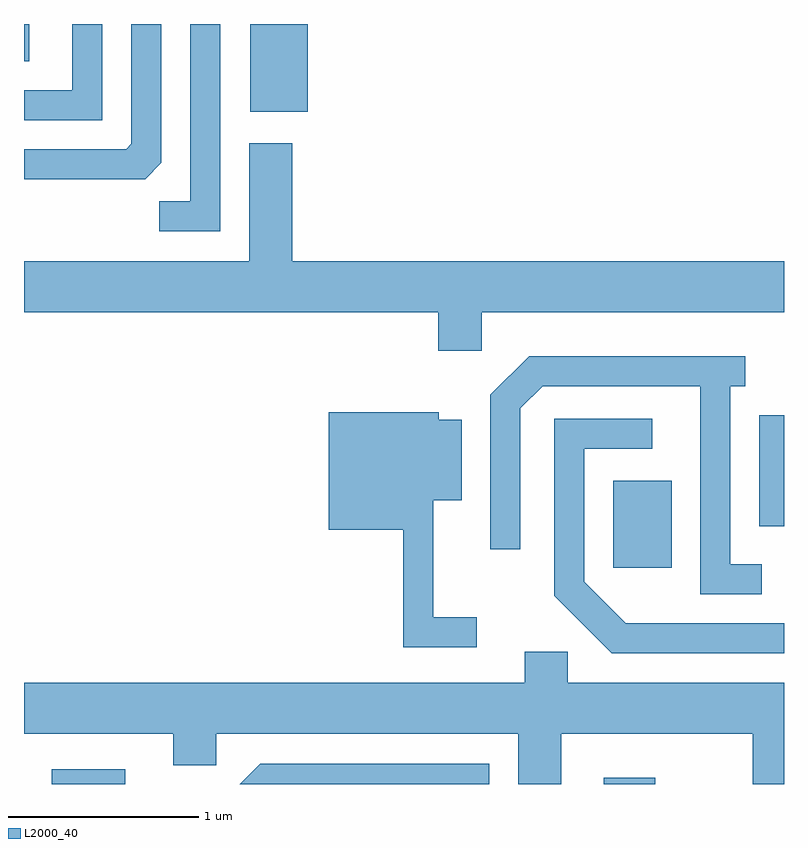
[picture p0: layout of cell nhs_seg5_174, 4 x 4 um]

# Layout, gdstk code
import gdstk
lib = gdstk.Library(unit=1e-6, precision=1e-09)
def R(c, l, rs):  # rectangles x0, y0, x1, y1
    for r in rs: c.add(gdstk.rectangle(r[:2], r[2:], *l))
def P(c, l, *ps):  # polygons
    for p in ps: c.add(gdstk.Polygon(p, *l))
L2000_40 = (2000, 40)

nhs_seg5_174 = lib.new_cell('nhs_seg5_174')
R(nhs_seg5_174, L2000_40, [(189.756,1472.072,190.143,1472.149), (192.663,1472.072,192.934,1472.104), (192.711,1473.211,193.019,1473.669), (193.481,1473.428,193.611,1474.014), (190.801,1475.611,191.104,1476.072), (189.611,1475.876,189.639,1476.072)])
P(nhs_seg5_174, L2000_40, [(190.334,1475.342),(190.334,1476.072),(190.176,1476.072),(190.176,1475.442),(190.149,1475.414),(189.611,1475.414),(189.611,1475.256),(190.249,1475.256)],
  [(190.644,1476.072),(190.486,1476.072),(190.486,1475.139),(190.323,1475.139),(190.323,1474.981),(190.644,1474.981)],
  [(190.024,1476.072),(189.866,1476.072),(189.866,1475.724),(189.611,1475.724),(189.611,1475.566),(190.024,1475.566)],
  [(192.019,1474.556),(193.611,1474.556),(193.611,1474.824),(191.024,1474.824),(191.024,1475.444),(190.796,1475.444),(190.796,1474.824),(189.611,1474.824),(189.611,1474.556),(191.791,1474.556),(191.791,1474.351),(192.019,1474.351)],
  [(193.493,1473.229),(193.329,1473.229),(193.329,1474.166),(193.408,1474.166),(193.408,1474.324),(192.269,1474.324),(192.066,1474.122),(192.066,1473.308),(192.224,1473.308),(192.224,1474.049),(192.342,1474.166),(193.171,1474.166),(193.171,1473.071),(193.493,1473.071)],
  [(191.993,1472.949),(191.764,1472.949),(191.764,1473.566),(191.914,1473.566),(191.914,1473.989),(191.794,1473.989),(191.794,1474.029),(191.216,1474.029),(191.216,1473.411),(191.606,1473.411),(191.606,1472.791),(191.993,1472.791)],
  [(193.611,1472.919),(192.777,1472.919),(192.559,1473.137),(192.559,1473.836),(192.918,1473.836),(192.918,1473.994),(192.401,1473.994),(192.401,1473.064),(192.704,1472.761),(193.611,1472.761)],
  [(192.439,1472.336),(193.446,1472.336),(193.446,1472.072),(193.611,1472.072),(193.611,1472.604),(192.474,1472.604),(192.474,1472.769),(192.246,1472.769),(192.246,1472.604),(189.611,1472.604),(189.611,1472.336),(190.396,1472.336),(190.396,1472.171),(190.624,1472.171),(190.624,1472.336),(192.211,1472.336),(192.211,1472.072),(192.439,1472.072)],
  [(192.059,1472.179),(190.854,1472.179),(190.747,1472.072),(192.059,1472.072)])

lib.write_gds('nhs_seg5_174.gds')
